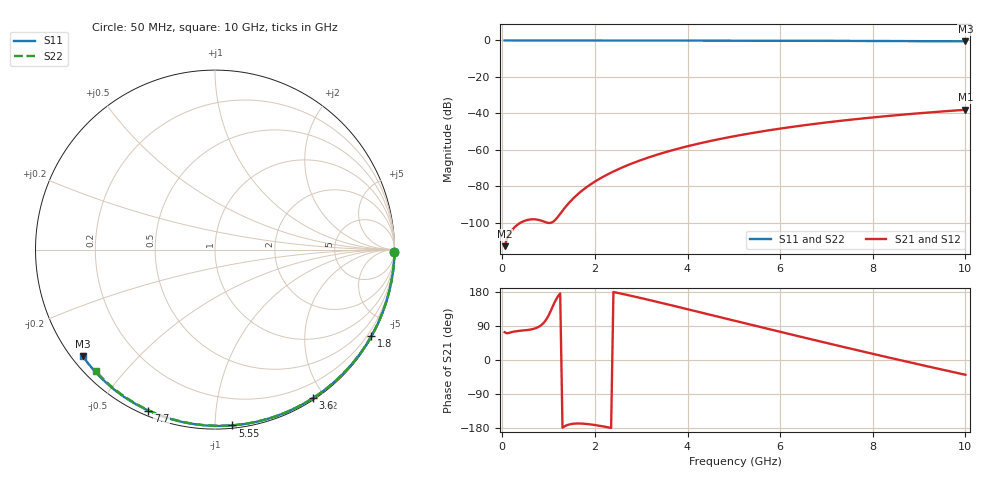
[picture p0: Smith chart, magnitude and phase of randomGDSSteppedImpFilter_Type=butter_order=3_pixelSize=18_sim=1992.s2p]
! freq	dB(S11)	phase(S11)	dB(S12)	phase(S12)
!  dB(S21)	phase(S21)	dB(S22)	phase(S22)
!S-par simulation data
#  GHz  S  DB  R 50
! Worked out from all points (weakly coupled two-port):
!   200 points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, 50 MHz to 10 GHz, reference 50 ohm
!   highest |S21| = -37.99 dB at 10 GHz (marker M1); lowest = -112.7 dB at 50 MHz (marker M2)
!   lowest |S11| = -0.5 dB at 10 GHz (marker M3), VSWR 36.37, Z = 1.55 - j17.6 ohm
!   |S11| at or under -10 dB: nowhere
!   |S22| runs from -0.5 to 0.0 dB; largest |S21 - S12| = 0
!   S11 on the Smith chart (normalised r, x): 50 MHz: open; 1.8 GHz: 0.03, -3.87; 3.6 GHz: 0.02, -1.86; 5.55 GHz: 0.02, -1.10; 7.7 GHz: 0.02, -0.67; 10 GHz: 0.03, -0.35
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0.05  -0.00 -0.8  -112.73 73.3  -112.73 73.3  -0.00 -0.8
0.45  -0.01 -7.4  -99.15 77.9  -99.15 77.9  -0.01 -7.0
0.9  -0.02 -14.6  -99.27 98.9  -99.27 98.9  -0.02 -13.9
1.75  -0.04 -28.2  -81.73 -168.1  -81.73 -168.1  -0.03 -26.8
1.8  -0.04 -29.0  -80.77 -168.5  -80.77 -168.5  -0.03 -27.5
1.85  -0.04 -29.8  -79.85 -169.2  -79.85 -169.2  -0.04 -28.3
2  -0.04 -32.1  -77.33 -171.6  -77.33 -171.6  -0.04 -30.5
2.15  -0.04 -34.5  -75.08 -174.6  -75.08 -174.6  -0.04 -32.7
2.35  -0.05 -37.6  -72.41 -179.3  -72.41 -179.3  -0.05 -35.7
2.55  -0.05 -40.7  -70.03 175.6  -70.03 175.6  -0.05 -38.7
2.95  -0.06 -46.8  -65.96 164.7  -65.96 164.7  -0.06 -44.5
3.4  -0.07 -53.6  -62.16 151.8  -62.16 151.8  -0.07 -50.9
3.6  -0.08 -56.6  -60.67 145.9  -60.67 145.9  -0.07 -53.8
4.3  -0.09 -66.8  -56.17 125.1  -56.17 125.1  -0.09 -63.5
5.05  -0.12 -77.4  -52.28 102.6  -52.28 102.6  -0.11 -73.7
5.55  -0.14 -84.3  -50.07 87.7  -50.07 87.7  -0.13 -80.3
6.1  -0.16 -91.7  -47.93 71.4  -47.93 71.4  -0.15 -87.4
6.7  -0.19 -99.7  -45.87 53.8  -45.87 53.8  -0.18 -94.9
7.7  -0.26 -112.5  -42.95 24.8  -42.95 24.8  -0.24 -107.2
8.35  -0.31 -120.7  -41.33 6.4  -41.33 6.4  -0.29 -114.9
9.2  -0.39 -131.2  -39.49 -17.3  -39.49 -17.3  -0.37 -125.0
10  -0.48 -141.2  -37.99 -39.0  -37.99 -39.0  -0.46 -134.4
